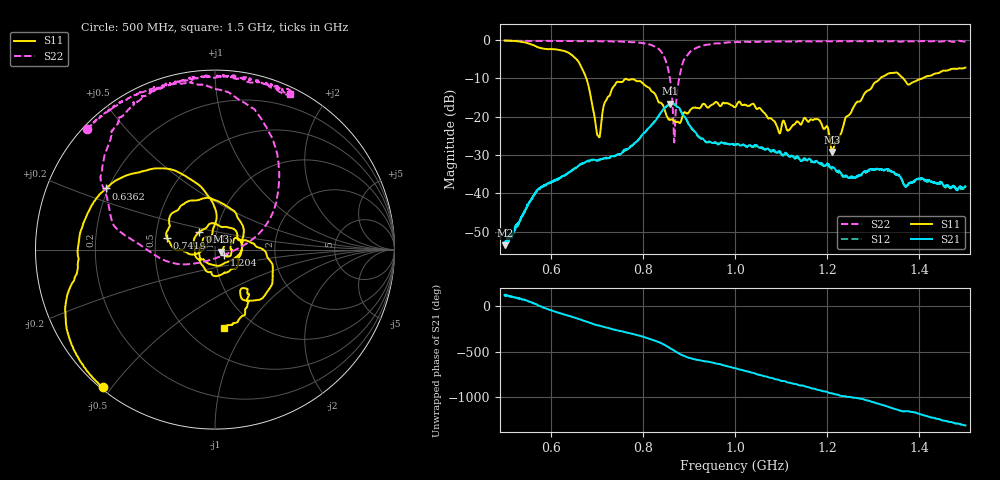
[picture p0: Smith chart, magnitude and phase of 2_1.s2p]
!Agilent Technologies,E8364B,US42250235,A.06.04.32
!Agilent E8364B: A.06.04.32
!Date: Friday, January 15, 2021 16:02:37
!Correction: S11(Full 2 Port(1,2)) S21(Full 2 Port(1,2)) S12(Full 2 Port(1,2)) S22(Full 2 Port(1,2))
!S2P File: Measurements: S11, S21, S12, S22:
# Hz S  dB  R 50
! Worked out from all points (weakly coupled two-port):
!   1601 points, 500 MHz to 1.5 GHz, reference 50 ohm
!   highest |S21| = -16.57 dB at 859.4 MHz (marker M1); lowest = -53.6 dB at 500.6 MHz (marker M2)
!   lowest |S11| = -29.2 dB at 1.211 GHz (marker M3), VSWR 1.07, Z = 53.4 - j1.18 ohm
!   |S11| at or under -10 dB: 677.3 MHz to 1.315 GHz (637.4 MHz wide, 64 % of centre); 1.365 GHz to 1.406 GHz (41.18 MHz wide, 2.97 % of centre)
!   |S22| runs from -26.7 to -0.1 dB; largest |S21 - S12| = 0.007
!   S11 on the Smith chart (normalised r, x): 500 MHz: 0.01, -0.47; 636.2 MHz: 0.19, +0.25; 741.9 MHz: 0.57, +0.08; 915 MHz: 0.83, +0.17; 1.204 GHz: 1.11, -0.06; 1.5 GHz: 0.74, -0.80
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5e8  -0.08 -129.2  -52.71 123.0  -53.75 117.2  -0.19 136.6
5.00625e8  -0.08 -129.5  -53.55 124.4  -52.53 123.1  -0.19 136.5
5.69375e8  -1.70 -166.4  -39.26 19.8  -39.48 19.6  -0.22 130.0
6.3625e8  -3.15 150.7  -34.78 -99.9  -34.78 -101.7  -0.22 123.0
6.66875e8  -7.13 111.7  -32.24 -150.2  -32.39 -152.1  -0.25 118.9
7.03125e8  -24.93 139.8  -31.29 150.0  -31.35 147.8  -0.27 115.3
7.41875e8  -11.19 166.3  -30.03 98.6  -30.12 96.8  -0.39 107.1
7.9375e8  -10.68 99.0  -25.50 35.7  -25.52 33.7  -0.70 95.7
8.3375e8  -16.08 18.5  -19.88 -32.5  -19.89 -34.3  -2.22 70.6
8.59375e8  -20.70 -59.6  -16.57 -102.4  -16.77 -104.3  -10.40 24.4
8.6875e8  -21.24 -93.5  -16.71 -131.8  -16.83 -133.8  -25.94 -94.3
8.8625e8  -19.84 -146.3  -19.36 179.1  -19.45 177.5  -6.06 171.5
9.15e8  -17.64 131.4  -24.21 132.5  -24.35 130.6  -2.09 142.8
1e9  -17.52 -22.4  -27.36 37.6  -27.27 35.5  -0.52 115.4
1.095625e9  -24.12 155.4  -28.93 -92.6  -29.26 -96.6  -0.35 103.0
1.166875e9  -20.71 -0.9  -31.65 173.6  -31.78 173.8  -0.35 95.0
1.204375e9  -24.55 -29.3  -32.63 124.4  -33.06 123.3  -0.32 92.9
1.21125e9  -29.19 -18.5  -33.14 117.9  -33.79 115.5  -0.28 92.2
1.261875e9  -16.55 22.2  -35.80 69.6  -35.71 70.6  -0.31 86.8
1.33375e9  -8.70 -29.4  -33.77 -31.3  -34.12 -28.6  -0.32 78.9
1.378125e9  -11.59 -54.5  -37.36 -80.2  -37.49 -77.6  -0.29 76.3
1.5e9  -7.16 -83.2  -38.19 125.0  -38.70 124.3  -0.33 64.4
